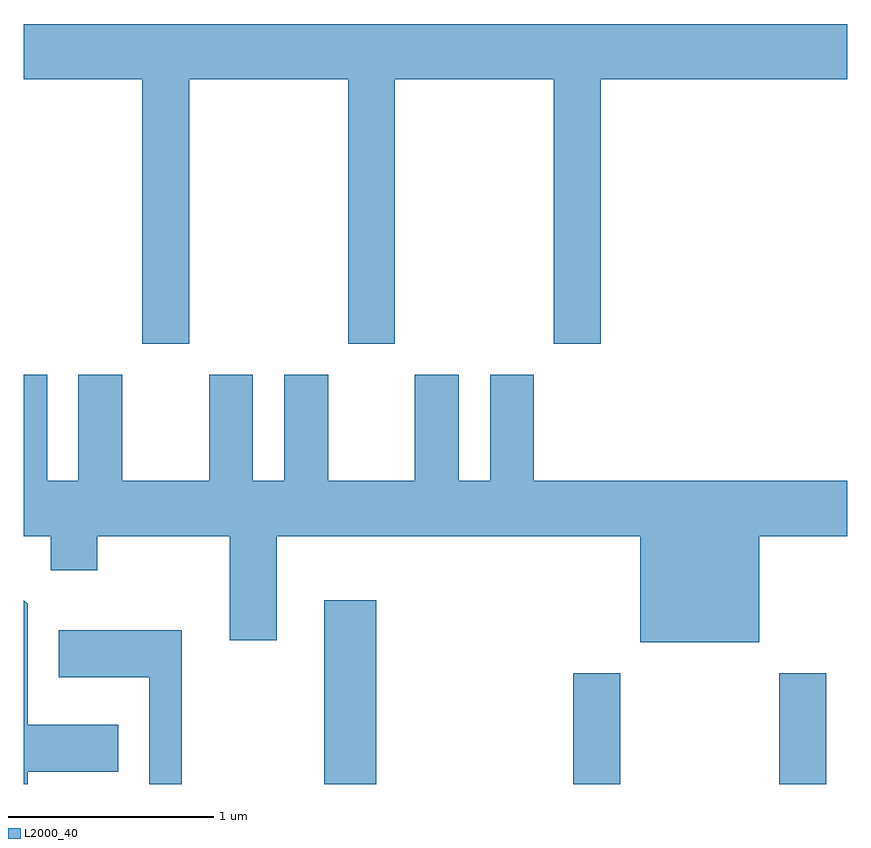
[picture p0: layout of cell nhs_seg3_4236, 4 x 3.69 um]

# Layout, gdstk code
import gdstk
lib = gdstk.Library(unit=1e-6, precision=1e-09)
def R(c, l, rs):  # rectangles x0, y0, x1, y1
    for r in rs: c.add(gdstk.rectangle(r[:2], r[2:], *l))
def P(c, l, *ps):  # polygons
    for p in ps: c.add(gdstk.Polygon(p, *l))
L2000_40 = (2000, 40)

nhs_seg3_4236 = lib.new_cell('nhs_seg3_4236')
R(nhs_seg3_4236, L2000_40, [(311.071,1155.892,311.324,1156.784), (312.281,1155.892,312.509,1156.429), (313.281,1155.892,313.509,1156.429)])
P(nhs_seg3_4236, L2000_40, [(310.414,1159.316),(311.186,1159.316),(311.186,1158.031),(311.414,1158.031),(311.414,1159.316),(312.186,1159.316),(312.186,1158.031),(312.414,1158.031),(312.414,1159.316),(313.611,1159.316),(313.611,1159.584),(309.611,1159.584),(309.611,1159.316),(310.186,1159.316),(310.186,1158.031),(310.414,1158.031)],
  [(313.184,1157.096),(313.611,1157.096),(313.611,1157.364),(312.089,1157.364),(312.089,1157.879),(311.876,1157.879),(311.876,1157.364),(311.724,1157.364),(311.724,1157.879),(311.511,1157.879),(311.511,1157.364),(311.089,1157.364),(311.089,1157.879),(310.876,1157.879),(310.876,1157.364),(310.724,1157.364),(310.724,1157.879),(310.511,1157.879),(310.511,1157.364),(310.089,1157.364),(310.089,1157.879),(309.876,1157.879),(309.876,1157.364),(309.724,1157.364),(309.724,1157.879),(309.611,1157.879),(309.611,1157.096),(309.741,1157.096),(309.741,1156.931),(309.969,1156.931),(309.969,1157.096),(310.611,1157.096),(310.611,1156.591),(310.839,1156.591),(310.839,1157.096),(312.606,1157.096),(312.606,1156.581),(313.184,1156.581)],
  [(309.629,1155.951),(310.069,1155.951),(310.069,1156.179),(309.629,1156.179),(309.629,1156.767),(309.611,1156.785),(309.611,1155.892),(309.629,1155.892)],
  [(310.379,1156.639),(309.781,1156.639),(309.781,1156.411),(310.221,1156.411),(310.221,1155.892),(310.379,1155.892)])

lib.write_gds('nhs_seg3_4236.gds')
